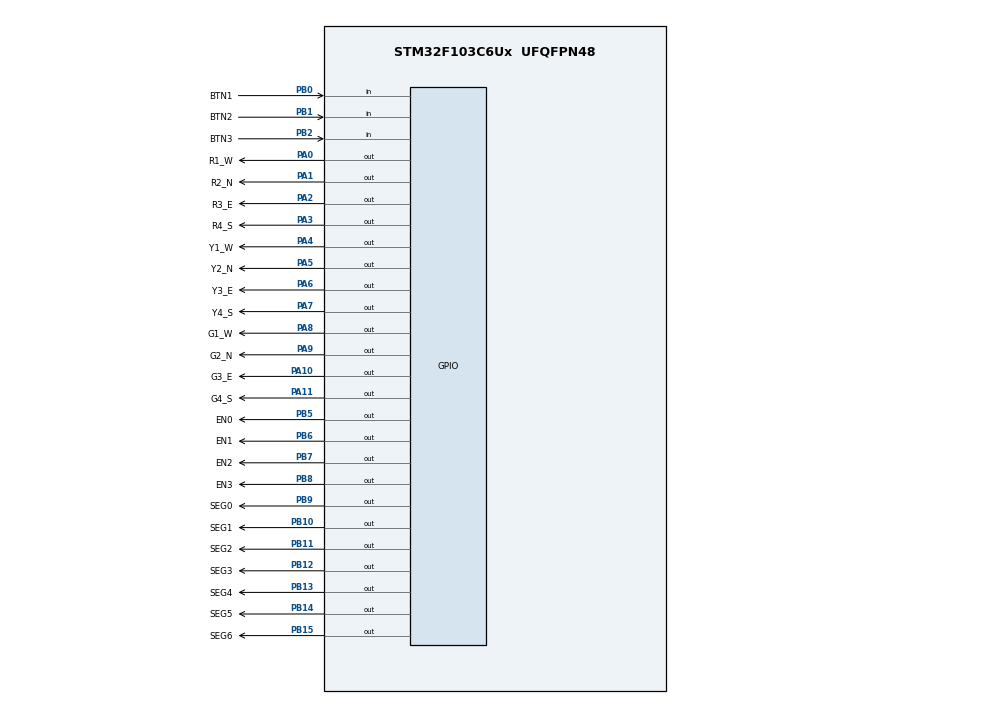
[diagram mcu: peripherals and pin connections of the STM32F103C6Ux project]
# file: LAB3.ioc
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Mcu.Family=STM32F1
Mcu.Name=STM32F103C6Ux
Mcu.Package=UFQFPN48
NVIC.PriorityGroup=NVIC_PRIORITYGROUP_4
NVIC.TIM2_IRQn=true\:0\:0\:false\:false\:true\:true\:true
PA0-WKUP.GPIO_Label=R1_W
PA0-WKUP.Signal=GPIO_Output
PA1.GPIO_Label=R2_N
PA1.Signal=GPIO_Output
PA10.GPIO_Label=G3_E
PA10.Signal=GPIO_Output
PA11.GPIO_Label=G4_S
PA11.Signal=GPIO_Output
PA2.GPIO_Label=R3_E
PA2.Signal=GPIO_Output
PA3.GPIO_Label=R4_S
PA3.Signal=GPIO_Output
PA4.GPIO_Label=Y1_W
PA4.Signal=GPIO_Output
PA5.GPIO_Label=Y2_N
PA5.Signal=GPIO_Output
PA6.GPIO_Label=Y3_E
PA6.Signal=GPIO_Output
PA7.GPIO_Label=Y4_S
PA7.Signal=GPIO_Output
PA8.GPIO_Label=G1_W
PA8.Signal=GPIO_Output
PA9.GPIO_Label=G2_N
PA9.Signal=GPIO_Output
PB0.GPIO_Label=BTN1
PB0.Signal=GPIO_Input
PB1.GPIO_Label=BTN2
PB1.Signal=GPIO_Input
PB10.GPIO_Label=SEG1
PB10.Signal=GPIO_Output
PB11.GPIO_Label=SEG2
PB11.Signal=GPIO_Output
PB12.GPIO_Label=SEG3
PB12.Signal=GPIO_Output
PB13.GPIO_Label=SEG4
PB13.Signal=GPIO_Output
PB14.GPIO_Label=SEG5
PB14.Signal=GPIO_Output
PB15.GPIO_Label=SEG6
PB15.Signal=GPIO_Output
PB2.GPIO_Label=BTN3
PB2.Signal=GPIO_Input
PB5.GPIO_Label=EN0
PB5.Signal=GPIO_Output
PB6.GPIO_Label=EN1
PB6.Signal=GPIO_Output
PB7.GPIO_Label=EN2
PB7.Signal=GPIO_Output
PB8.GPIO_Label=EN3
PB8.Signal=GPIO_Output
PB9.GPIO_Label=SEG0
PB9.Signal=GPIO_Output
ProjectManager.HeapSize=0x200
ProjectManager.StackSize=0x400
ProjectManager.TargetToolchain=STM32CubeIDE
RCC.APB1Freq_Value=8000000
RCC.APB2Freq_Value=8000000
TIM2.Period=1
TIM2.Prescaler=7999
VP_SYS_VS_ND.Mode=No_Debug
VP_TIM2_VS_ClockSourceINT.Mode=Internal
board=custom

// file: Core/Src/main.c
/* USER CODE BEGIN Header */
/**
  ******************************************************************************
  * @file           : main.c
  * @brief          : Main program body
  ******************************************************************************
  * @attention
  *
  * <h2><center>&copy; Copyright (c) 2025 STMicroelectronics.
  * All rights reserved.</center></h2>
  *
  * This software component is licensed by ST under BSD 3-Clause license,
  * the "License"; You may not use this file except in compliance with the
  * License. You may obtain a copy of the License at:
  *                        opensource.org/licenses/BSD-3-Clause
  *
  ******************************************************************************
  */
/* USER CODE END Header */
#include "main.h"

/* USER CODE BEGIN Includes */
#include "input_reading.h"
#include "input_processing.h"
#include "soft_timers.h"
/* USER CODE END Includes */

TIM_HandleTypeDef htim2;

void SystemClock_Config(void);
static void MX_GPIO_Init(void);
static void MX_TIM2_Init(void);

int main(void)
{

  /* MCU Configuration--------------------------------------------------------*/

  /* Reset of all peripherals, Initializes the Flash interface and the Systick. */
  HAL_Init();

  /* Configure the system clock */
  SystemClock_Config();

  /* Initialize all configured peripherals */
  MX_GPIO_Init();
  MX_TIM2_Init();
  /* USER CODE BEGIN 2 */
  // Segments HIGH = OFF (common–anode)
  HAL_GPIO_WritePin(GPIOB, SEG0_Pin|SEG1_Pin|SEG2_Pin|SEG3_Pin|
                           SEG4_Pin|SEG5_Pin|SEG6_Pin, GPIO_PIN_SET);
  // Digit enables HIGH = OFF (active-LOW)
  HAL_GPIO_WritePin(GPIOB, EN0_Pin|EN1_Pin|EN2_Pin|EN3_Pin, GPIO_PIN_SET);

  buttons_init();
  HAL_TIM_Base_Start_IT(&htim2);
  /* USER CODE END 2 */

  /* Infinite loop */
  /* USER CODE BEGIN WHILE */
  while (1)
  {
	  fsm_mode_processing();
    /* USER CODE END WHILE */

  }
}

void SystemClock_Config(void)
{
  RCC_OscInitTypeDef RCC_OscInitStruct = {0};
  RCC_ClkInitTypeDef RCC_ClkInitStruct = {0};

  /** Initializes the RCC Oscillators according to the specified parameters
  * in the RCC_OscInitTypeDef structure.
  */
  RCC_OscInitStruct.OscillatorType = RCC_OSCILLATORTYPE_HSI;
  RCC_OscInitStruct.HSIState = RCC_HSI_ON;
  RCC_OscInitStruct.HSICalibrationValue = RCC_HSICALIBRATION_DEFAULT;
  RCC_OscInitStruct.PLL.PLLState = RCC_PLL_NONE;
  if (HAL_RCC_OscConfig(&RCC_OscInitStruct) != HAL_OK)
  {
    Error_Handler();
  }
  /** Initializes the CPU, AHB and APB buses clocks
  */
  RCC_ClkInitStruct.ClockType = RCC_CLOCKTYPE_HCLK|RCC_CLOCKTYPE_SYSCLK
                              |RCC_CLOCKTYPE_PCLK1|RCC_CLOCKTYPE_PCLK2;
  RCC_ClkInitStruct.SYSCLKSource = RCC_SYSCLKSOURCE_HSI;
  RCC_ClkInitStruct.AHBCLKDivider = RCC_SYSCLK_DIV1;
  RCC_ClkInitStruct.APB1CLKDivider = RCC_HCLK_DIV1;
  RCC_ClkInitStruct.APB2CLKDivider = RCC_HCLK_DIV1;

  if (HAL_RCC_ClockConfig(&RCC_ClkInitStruct, FLASH_LATENCY_0) != HAL_OK)
  {
    Error_Handler();
  }
}

static void MX_TIM2_Init(void)
{

  TIM_ClockConfigTypeDef sClockSourceConfig = {0};
  TIM_MasterConfigTypeDef sMasterConfig = {0};

  htim2.Instance = TIM2;
  htim2.Init.Prescaler = 7999;
  htim2.Init.CounterMode = TIM_COUNTERMODE_UP;
  htim2.Init.Period = 1;
  htim2.Init.ClockDivision = TIM_CLOCKDIVISION_DIV1;
  htim2.Init.AutoReloadPreload = TIM_AUTORELOAD_PRELOAD_DISABLE;
  if (HAL_TIM_Base_Init(&htim2) != HAL_OK)
  {
    Error_Handler();
  }
  sClockSourceConfig.ClockSource = TIM_CLOCKSOURCE_INTERNAL;
  if (HAL_TIM_ConfigClockSource(&htim2, &sClockSourceConfig) != HAL_OK)
  {
    Error_Handler();
  }
  sMasterConfig.MasterOutputTrigger = TIM_TRGO_RESET;
  sMasterConfig.MasterSlaveMode = TIM_MASTERSLAVEMODE_DISABLE;
  if (HAL_TIMEx_MasterConfigSynchronization(&htim2, &sMasterConfig) != HAL_OK)
  {
    Error_Handler();
  }

}

static void MX_GPIO_Init(void)
{
  GPIO_InitTypeDef GPIO_InitStruct = {0};

  /* GPIO Ports Clock Enable */
  __HAL_RCC_GPIOA_CLK_ENABLE();
  __HAL_RCC_GPIOB_CLK_ENABLE();

  /*Configure GPIO pin Output Level */
  HAL_GPIO_WritePin(GPIOA, R1_W_Pin|R2_N_Pin|R3_E_Pin|R4_S_Pin
                          |Y1_W_Pin|Y2_N_Pin|Y3_E_Pin|Y4_S_Pin
                          |G1_W_Pin|G2_N_Pin|G3_E_Pin|G4_S_Pin, GPIO_PIN_RESET);

  /*Configure GPIO pin Output Level */
  HAL_GPIO_WritePin(GPIOB, SEG1_Pin|SEG2_Pin|SEG3_Pin|SEG4_Pin
                          |SEG5_Pin|SEG6_Pin|EN0_Pin|EN1_Pin
                          |EN2_Pin|EN3_Pin|SEG0_Pin, GPIO_PIN_RESET);

  /*Configure GPIO pins : R1_W_Pin R2_N_Pin R3_E_Pin R4_S_Pin
                           Y1_W_Pin Y2_N_Pin Y3_E_Pin Y4_S_Pin
                           G1_W_Pin G2_N_Pin G3_E_Pin G4_S_Pin */
  GPIO_InitStruct.Pin = R1_W_Pin|R2_N_Pin|R3_E_Pin|R4_S_Pin
                          |Y1_W_Pin|Y2_N_Pin|Y3_E_Pin|Y4_S_Pin
                          |G1_W_Pin|G2_N_Pin|G3_E_Pin|G4_S_Pin;
  GPIO_InitStruct.Mode = GPIO_MODE_OUTPUT_PP;
  GPIO_InitStruct.Pull = GPIO_NOPULL;
  GPIO_InitStruct.Speed = GPIO_SPEED_FREQ_LOW;
  HAL_GPIO_Init(GPIOA, &GPIO_InitStruct);

  /*Configure GPIO pins : BTN1_Pin BTN2_Pin BTN3_Pin */
  GPIO_InitStruct.Pin = BTN1_Pin|BTN2_Pin|BTN3_Pin;
  GPIO_InitStruct.Mode = GPIO_MODE_INPUT;
  GPIO_InitStruct.Pull = GPIO_PULLUP;
  HAL_GPIO_Init(GPIOB, &GPIO_InitStruct);

  /*Configure GPIO pins : SEG1_Pin SEG2_Pin SEG3_Pin SEG4_Pin
                           SEG5_Pin SEG6_Pin EN0_Pin EN1_Pin
                           EN2_Pin EN3_Pin SEG0_Pin */
  GPIO_InitStruct.Pin = SEG1_Pin|SEG2_Pin|SEG3_Pin|SEG4_Pin
                          |SEG5_Pin|SEG6_Pin|EN0_Pin|EN1_Pin
                          |EN2_Pin|EN3_Pin|SEG0_Pin;
  GPIO_InitStruct.Mode = GPIO_MODE_OUTPUT_PP;
  GPIO_InitStruct.Pull = GPIO_NOPULL;
  GPIO_InitStruct.Speed = GPIO_SPEED_FREQ_LOW;
  HAL_GPIO_Init(GPIOB, &GPIO_InitStruct);

}

/* USER CODE BEGIN 4 */
void HAL_TIM_PeriodElapsedCallback(TIM_HandleTypeDef *htim){
  if (htim->Instance == TIM2){
    sys_ms += TICK_MS;           // TICK_MS will be 2 in soft_timers.h

    static uint16_t acc = 0;
    acc += TICK_MS;
    while (acc >= 10){
      acc -= 10;
      buttons_reading_10ms();    // debouncer every 10 ms
    }
  }
}

/* USER CODE END 4 */

void Error_Handler(void)
{
  __disable_irq();
  while (1)
  {
  }
}

/************************ (C) COPYRIGHT STMicroelectronics *****END OF FILE****/
